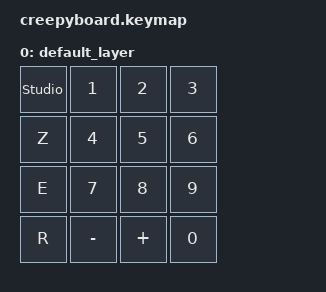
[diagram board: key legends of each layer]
#include <behaviors.dtsi>
#include <dt-bindings/zmk/keys.h>
#include <dt-bindings/zmk/bt.h>
//balec
//ballec 2.0 tamer
/ {
    
    
    keymap {
        compatible = "zmk,keymap";


        default_layer {
            bindings = <
                &studio_unlock   &kp N1      &kp N2      &kp N3 
                &kp Z   &kp N4      &kp N5      &kp N6  
                &kp E   &kp N7      &kp N8      &kp N9 
                &kp R   &kp MINUS   &kp PLUS    &kp N0 
            >;
        };
    };
};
